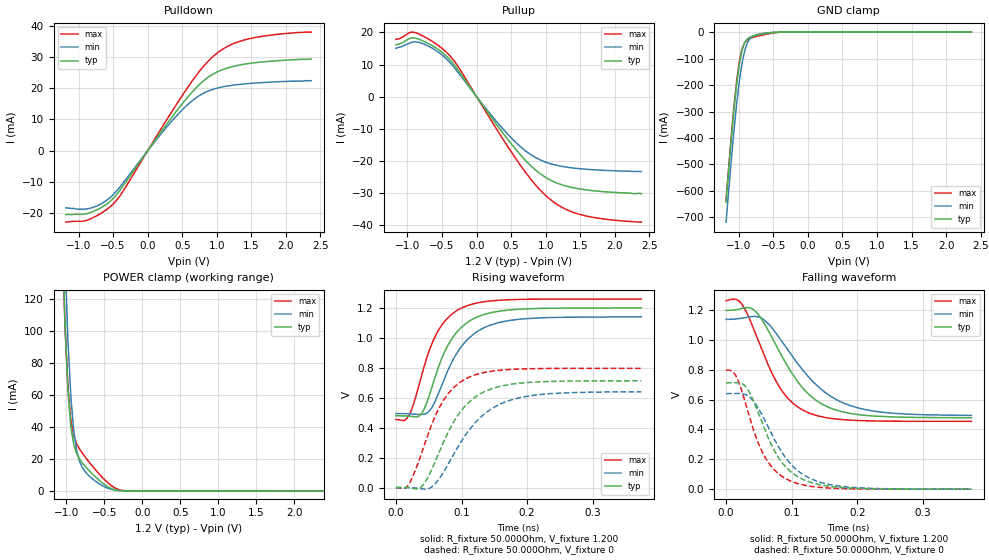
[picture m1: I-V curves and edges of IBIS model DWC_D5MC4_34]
| [Disclaimer] The data in this file is derived from SPICE simulations using
| modeling information extracted from the target process.
| A great deal of care has been taken to provide information
| that is accurate. This model has been verified by actual silicon
| measurement.
| [Copyright] Copyright 2016, Xilinx Inc., All rights reserved
| From synth.ibs, zynquplus, Xilinx Inc.
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[Model] DWC_D5MC4_34
Model_type   I/O
Polarity   Non-Inverting
Enable   Active-High
C_comp   1.540pF   1.512pF   1.579pF
C_comp_pullup   286.479fF   272.926fF   307.530fF
C_comp_pulldown 1.252pF   1.239pF   1.270pF
Vinh = 660.000mV
Vinl = 540.000mV
Vmeas = 600.000mV
Vref = 600.000mV
Rref = 50Ohms
Cref = 0pF
[Model Spec]
Vinh   660.000mV   630.000mV   690.000mV
Vinl   540.000mV   510.000mV   570.000mV
Vmeas   600.000mV   570.000mV   630.000mV
Vref   600.000mV   570.000mV   630.000mV
D_overshoot_ampl_h 0.24 NA   NA
D_overshoot_ampl_l 0.24 NA   NA
D_overshoot_area_l 300.000m NA   NA
D_overshoot_area_h 300.000m NA   NA
[Temperature Range]   25.000   100.000   0.00
[Voltage Range]   1.200V   1.140V   1.260V
[GND Clamp Reference]   0.00V   0.00V   0.00V
[Pulldown Reference]   0.00V   0.00V   0.00V
[POWER Clamp Reference]   1.200V   1.140V   1.260V
[Pullup Reference]   1.200V   1.140V   1.260V
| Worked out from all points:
|   slope of the pulldown table from 0 to 0.18 V, typ, clamps not added: 32.2 ohm
|   slope of the pullup table from 0 to 0.18 V, typ, clamps not added: 33 ohm
|   GND clamp passes 1 mA (typ) near -0.48 V on its own axis
|   POWER clamp passes 1 mA (typ) near -0.38 V on its own axis
|   rising waveform, R_fixture 50.000Ohm, V_fixture 1.200: 20-80 % time 45ps typ, 50ps min, 41.2ps max; typ from 0.479 V to 1.2 V
|   rising waveform, R_fixture 50.000Ohm, V_fixture 0: 20-80 % time 54.6ps typ, 64.8ps min, 48.1ps max; typ from 0 V to 0.713 V
|   falling waveform, R_fixture 50.000Ohm, V_fixture 1.200: 20-80 % time 63.8ps typ, 77.1ps min, 53.2ps max; typ from 1.2 V to 0.479 V
|   falling waveform, R_fixture 50.000Ohm, V_fixture 0: 20-80 % time 48.6ps typ, 54.9ps min, 42.2ps max; typ from 0.713 V to 0 V
[GND Clamp]
-1.184V   -643.3mA   -718.1mA   -633.9mA
-1.107V   -401.1mA   -479.8mA   -388.8mA
-1.069V   -292.7mA   -371.1mA   -279.6mA
-1.031V   -198mA     -272.6mA   -185.2mA
-992.7mV  -122.3mA   -188mA     -112.1mA
-954.6mV  -70.18mA   -120.5mA   -64.94mA
-916.4mV  -40.53mA   -72.43mA   -40.46mA
-878.2mV  -26.1mA    -42.39mA   -29.31mA
-801.8mV  -15.32mA   -16.62mA   -20.35mA
-649.1mV  -6.653mA   -4.833mA   -10.51mA
-343.6mV  -24.65uA   -26.5uA    -117.7uA
2.367V    135.4uA    116.7uA    159.5uA
[Power Clamp]
-1.167V   437.4mA    483mA      436.8mA
-1.053V   163.3mA    211.2mA    161.1mA
-1.015V   102.3mA    144.2mA    102mA
-976.4mV  62.04mA    93.24mA    64.24mA
-938.2mV  39.75mA    58.39mA    44.15mA
-900mV    28.75mA    37.07mA    34.47mA
-861.8mV  23.16mA    25mA       29.42mA
-823.6mV  19.8mA     18.29mA    26.1mA
-594.5mV  7.811mA    5.326mA    12.03mA
-403.6mV  1.362mA    856.6uA    3.175mA
-250.9mV  26.04uA    29.15uA    171.9uA
2.384V    -67.71uA   -61.29uA   -75.76uA
[Pulldown]
-1.184V   -20.4mA    -18.2mA    -22.8mA
-916.4mV  -20.24mA   -18.63mA   -22.44mA
-801.8mV  -19.5mA    -18.17mA   -21.48mA
-610.9mV  -17.31mA   -16.11mA   -19.04mA
-458.2mV  -14.25mA   -13.06mA   -16.02mA
152.7mV   4.761mA    4.279mA    5.526mA
496.4mV   14.88mA    12.97mA    17.49mA
725.5mV   20.66mA    17.3mA     24.7mA
992.7mV   25.03mA    19.93mA    30.98mA
1.222V    26.86mA    20.91mA    34.02mA
1.489V    27.94mA    21.51mA    35.86mA
2.367V    29.3mA     22.4mA     37.9mA
[Pullup]
-1.167V   16.2mA     15.07mA    17.84mA
-900mV    18.27mA    17.07mA    20.02mA
-670.9mV  16.24mA    15.45mA    17.61mA
-403.6mV  11.94mA    11.05mA    13.12mA
-250.9mV  7.743mA    7.07mA     8.856mA
207.3mV   -6.267mA   -5.621mA   -7.268mA
550.9mV   -15.99mA   -13.91mA   -18.78mA
818.2mV   -22.18mA   -18.53mA   -26.6mA
1.085V    -26.17mA   -20.99mA   -32.35mA
1.276V    -27.74mA   -21.87mA   -34.92mA
1.544V    -28.92mA   -22.54mA   -36.95mA
2.384V    -30.2mA    -23.36mA   -39.1mA
[Ramp]
R_load=50.000Ohm
dV/dt_r   429.720mV/51.000ps  385.410mV/58.500ps  479.970mV/46.000ps
dV/dt_f   429.720mV/57.500ps  385.410mV/67.000ps  479.970mV/49.000ps
[Rising waveform]
R_fixture=50.000Ohm
V_fixture=1.200
V_fixture_min=1.140
V_fixture_max=1.260
0s        479.2mV    493.9mV    454.1mV
20ps      477mV      492.6mV    483.1mV
40ps      500.9mV    487.7mV    762.1mV
51ps      616.8mV    511.2mV    917.1mV
64ps      793.8mV    618mV      1.044V
79ps      947.8mV    779.8mV    1.131V
97ps      1.057V     925.1mV    1.192V
127ps     1.144V     1.05V      1.235V
167ps     1.183V     1.111V     1.252V
374ps     1.199V     1.139V     1.258V
[Rising waveform]
R_fixture=50.000Ohm
V_fixture=0
0s        266.7uV    402.2uV    -190.9uV
19ps      -797.5uV   442.1uV    18.15mV
41ps      15.62mV    -9.431mV   254mV
55ps      124.8mV    5.804mV    426.3mV
71ps      289mV      91.56mV    572.7mV
89ps      445.9mV    230mV      671.7mV
109ps     560.1mV    369.5mV    732.1mV
144ps     656.4mV    521.5mV    775.3mV
188ps     696.8mV    599.5mV    791mV
374ps     712.6mV    639.2mV    795.9mV
[Falling waveform]
R_fixture=50.000Ohm
V_fixture=1.200
V_fixture_min=1.140
V_fixture_max=1.260
0s        1.198V     1.138V     1.263V
21ps      1.208V     1.144V     1.256V
45ps      1.192V     1.157V     1.042V
63ps      1.074V     1.115V     844.8mV
81ps      924.6mV    1.016V     687.9mV
99ps      785.9mV    902.9mV    587.7mV
120ps     662.6mV    781mV      523.1mV
157ps     547.3mV    629.7mV    476.1mV
201ps     499.8mV    544.6mV    460.1mV
374ps     479mV      494.6mV    454.5mV
[Falling waveform]
R_fixture=50.000Ohm
V_fixture=0
0s        712.6mV    640mV      798.3mV
15ps      714.6mV    641.9mV    759.4mV
32ps      675.4mV    628.8mV    540.5mV
48ps      524.7mV    550.6mV    320.8mV
61ps      377.6mV    445mV      202.2mV
79ps      218mV      290.9mV    107.5mV
96ps      127mV      181.4mV    58.61mV
128ps     46.69mV    71.63mV    19.54mV
172ps     12.2mV     20.51mV    4.398mV
374ps     -10.67uV   58.29uV    -5.051uV
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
